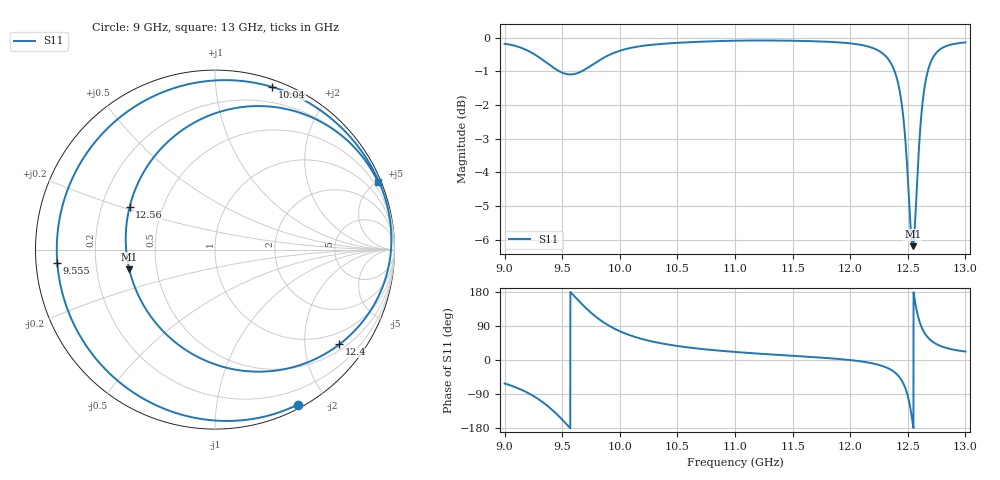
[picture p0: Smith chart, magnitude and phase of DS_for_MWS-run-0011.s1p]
! TOUCHSTONE file generated by CST DESIGN STUDIO
! Date and time: Tue Feb  4 14:01:51 2025
! Project name: C:\Work\MatlabApps\UnitCellOptimizationMatlab\CST\unitcell.cst
! Tree item: Tasks\Sweep1\SPara1\S-Parameters
! Header version: 2024
! Port assignment regex: !\s*Touchstone port\s*([0-9]+)\s*=\s*(CST MWS port|CST DES external port|CST DES block port)\s*(.+)\s* \(\"(.*)\"\)(\s*mode\s*([0-9]+))?.*
! Touchstone port assignment:
! Touchstone port 1 = CST DES external port 1 ("")
# GHz S MA R 50
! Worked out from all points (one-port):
!   4001 points, 9 GHz to 13 GHz, reference 50 ohm
!   lowest |S11| = -6.2 dB at 12.54 GHz (marker M1), VSWR 2.92, Z = 17.3 - j5.05 ohm
!   |S11| at or under -10 dB: nowhere
!   S11 on the Smith chart (normalised r, x): 9 GHz: 0.04, -1.67; 9.555 GHz: 0.06, -0.04; 10.04 GHz: 0.06, +1.41; 12.4 GHz: 0.65, -2.83; 12.56 GHz: 0.32, +0.21; 13 GHz: 0.22, +5.05
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9  0.9789 -61.9
9.146  0.9654 -78.5
9.297  0.9353 -104.0
9.399  0.9086 -127.9
9.5  0.887 -157.3
9.555  0.8819 -175.1
9.648  0.8877 154.6
9.767  0.9125 120.4
9.87  0.9353 97.2
10  0.9559 75.9
10.042  0.9606 70.5
10.24  0.9741 51.8
10.5  0.9822 37.0
11  0.9894 21.2
11.5  0.9893 11.1
12  0.9805 -0.2
12.277  0.9487 -15.5
12.404  0.8713 -37.3
12.453  0.7835 -57.0
12.5  0.6201 -95.1
12.543  0.4901 -166.9
12.563  0.5314 153.7
12.591  0.6589 112.8
12.62  0.7754 86.4
12.665  0.8794 62.8
12.716  0.9323 48.0
12.821  0.9694 33.0
13  0.9838 22.3
